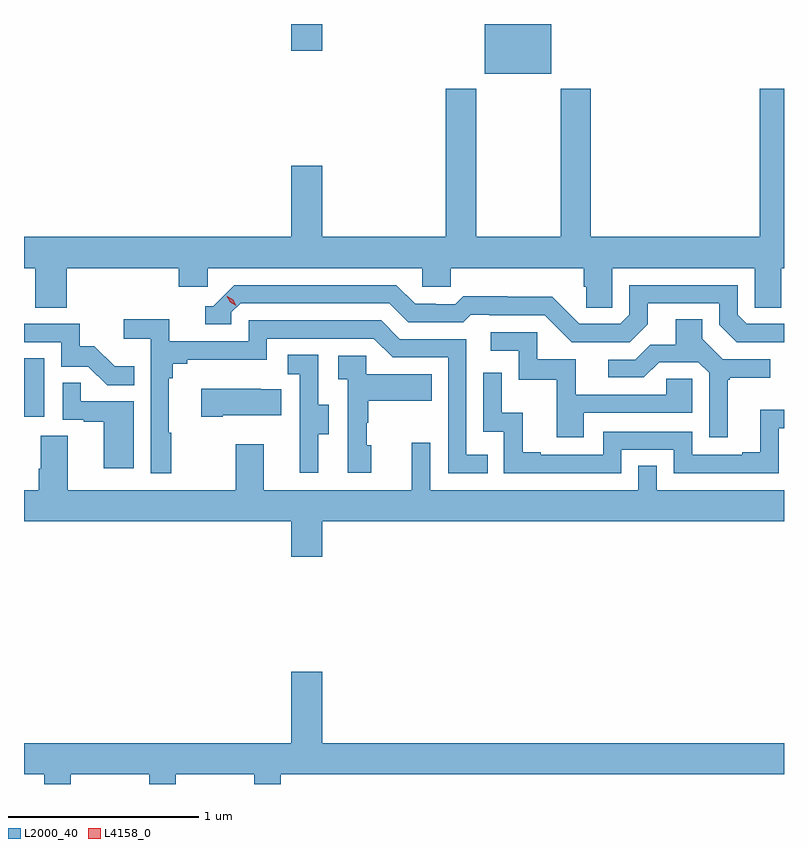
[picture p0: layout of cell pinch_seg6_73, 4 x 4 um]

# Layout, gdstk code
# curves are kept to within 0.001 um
import gdstk
lib = gdstk.Library(unit=1e-6, precision=1e-09)
def R(c, l, rs):  # rectangles x0, y0, x1, y1
    for r in rs: c.add(gdstk.rectangle(r[:2], r[2:], *l))
def P(c, l, *ps):  # polygons
    for p in ps: c.add(gdstk.Polygon(p, *l))
L2000_40 = (2000, 40)
L4158_0 = (4158, 0)

pinch_seg6_73 = lib.new_cell('pinch_seg6_73')
R(pinch_seg6_73, L2000_40, [(930.834,926.574,930.94,926.881), (933.26,928.379,933.61,928.641), (932.24,928.5,932.404,928.641)])
P(pinch_seg6_73, L2000_40, [(931.058,927.356),(931.649,927.356),(931.649,927.258),(931.8,927.258),(931.8,927.356),(932.931,927.356),(932.931,927.258),(933.081,927.258),(933.081,927.356),(933.779,927.356),(933.779,927.258),(933.793,927.258),(933.793,927.148),(933.93,927.148),(933.93,927.356),(934.68,927.356),(934.68,927.148),(934.819,927.148),(934.819,927.356),(934.834,927.356),(934.834,928.299),(934.706,928.299),(934.706,927.52),(933.818,927.52),(933.818,928.3),(933.658,928.3),(933.658,927.52),(933.213,927.52),(933.213,928.3),(933.053,928.3),(933.053,927.52),(932.404,927.52),(932.404,927.895),(932.24,927.895),(932.24,927.52),(930.834,927.52),(930.834,927.356),(930.893,927.356),(930.893,927.148),(931.058,927.148)],
  [(934.834,927.063),(934.638,927.063),(934.59,927.111),(934.59,927.267),(934.02,927.267),(934.02,927.111),(933.972,927.063),(933.756,927.063),(933.614,927.205),(933.378,927.205),(933.378,927.208),(933.145,927.208),(933.103,927.165),(933,927.165),(933,927.168),(932.893,927.168),(932.794,927.267),(931.941,927.267),(931.83,927.156),(931.787,927.156),(931.787,927.06),(931.926,927.06),(931.926,927.123),(931.974,927.171),(932.757,927.171),(932.856,927.072),(933.145,927.072),(933.184,927.111),(933.283,927.111),(933.283,927.108),(933.576,927.108),(933.717,926.967),(934.023,926.967),(934.117,927.061),(934.117,927.171),(934.494,927.171),(934.494,927.057),(934.584,926.967),(934.834,926.966)],
  [(934.537,926.769),(934.549,926.769),(934.549,926.78),(934.762,926.78),(934.762,926.877),(934.512,926.877),(934.405,926.984),(934.405,927.086),(934.265,927.086),(934.265,926.954),(934.13,926.954),(934.05,926.874),(933.909,926.874),(933.909,926.781),(934.096,926.781),(934.177,926.862),(934.383,926.862),(934.44,926.805),(934.44,926.466),(934.537,926.466)],
  [(931.609,926.489),(931.597,926.489),(931.597,926.777),(931.616,926.777),(931.616,926.854),(931.693,926.854),(931.693,926.873),(932.112,926.873),(932.112,926.985),(932.676,926.985),(932.775,926.886),(933.066,926.886),(933.066,926.277),(933.275,926.277),(933.275,926.373),(933.162,926.373),(933.162,926.982),(932.812,926.982),(932.713,927.081),(932.016,927.081),(932.016,926.97),(931.598,926.97),(931.598,927.086),(931.359,927.086),(931.359,926.984),(931.5,926.984),(931.5,926.277),(931.609,926.277)],
  [(931.415,926.839),(931.311,926.839),(931.204,926.946),(931.128,926.946),(931.128,927.063),(930.834,927.063),(930.834,926.967),(931.029,926.967),(931.029,926.838),(931.173,926.838),(931.271,926.74),(931.415,926.74)],
  [(933.781,926.595),(934.35,926.595),(934.35,926.775),(934.213,926.775),(934.213,926.691),(933.739,926.691),(933.739,926.877),(933.534,926.877),(933.534,927.018),(933.291,927.018),(933.291,926.922),(933.438,926.922),(933.438,926.769),(933.637,926.769),(933.637,926.466),(933.781,926.466)],
  [(932.383,926.482),(932.437,926.482),(932.437,926.637),(932.382,926.637),(932.382,926.9),(932.223,926.9),(932.223,926.797),(932.286,926.797),(932.286,926.493),(932.285,926.493),(932.285,926.28),(932.383,926.28)],
  [(932.662,926.424),(932.637,926.424),(932.637,926.543),(932.647,926.543),(932.647,926.657),(932.981,926.657),(932.981,926.797),(932.634,926.797),(932.634,926.895),(932.487,926.895),(932.487,926.771),(932.538,926.771),(932.538,926.28),(932.662,926.28)],
  [(933.978,926.4),(934.254,926.4),(934.254,926.277),(934.806,926.277),(934.806,926.513),(934.834,926.513),(934.834,926.611),(934.709,926.611),(934.709,926.386),(934.613,926.386),(934.613,926.373),(934.35,926.373),(934.35,926.496),(933.882,926.496),(933.882,926.373),(933.553,926.373),(933.553,926.386),(933.458,926.386),(933.458,926.594),(933.348,926.594),(933.348,926.806),(933.252,926.806),(933.252,926.496),(933.36,926.496),(933.36,926.277),(933.978,926.277)],
  [(931.411,926.655),(931.133,926.655),(931.133,926.753),(931.038,926.753),(931.038,926.559),(931.149,926.559),(931.149,926.547),(931.253,926.547),(931.253,926.304),(931.411,926.304)],
  [(931.879,926.582),(932.189,926.582),(932.189,926.719),(932.081,926.719),(932.081,926.722),(931.767,926.722),(931.767,926.575),(931.879,926.575)],
  [(932.404,926.024),(934.834,926.024),(934.834,926.188),(934.164,926.188),(934.164,926.315),(934.068,926.315),(934.068,926.188),(932.973,926.188),(932.973,926.437),(932.876,926.437),(932.876,926.188),(932.095,926.188),(932.095,926.428),(931.948,926.428),(931.948,926.188),(931.063,926.188),(931.063,926.474),(930.923,926.474),(930.923,926.3),(930.911,926.3),(930.911,926.188),(930.834,926.188),(930.834,926.024),(932.24,926.024),(932.24,925.836),(932.404,925.836)],
  [(931.081,924.692),(931.493,924.692),(931.493,924.641),(931.633,924.641),(931.633,924.692),(932.045,924.692),(932.045,924.641),(932.185,924.641),(932.185,924.692),(934.834,924.692),(934.834,924.856),(932.404,924.856),(932.404,925.231),(932.24,925.231),(932.24,924.856),(930.834,924.856),(930.834,924.692),(930.941,924.692),(930.941,924.641),(931.081,924.641)])
P(pinch_seg6_73, L4158_0, [(931.95,927.157),(931.919,927.176),(931.902,927.209),(931.902,927.209),(931.903,927.209),(931.934,927.19),(931.95,927.157),(931.95,927.157)])

lib.write_gds('pinch_seg6_73.gds')
